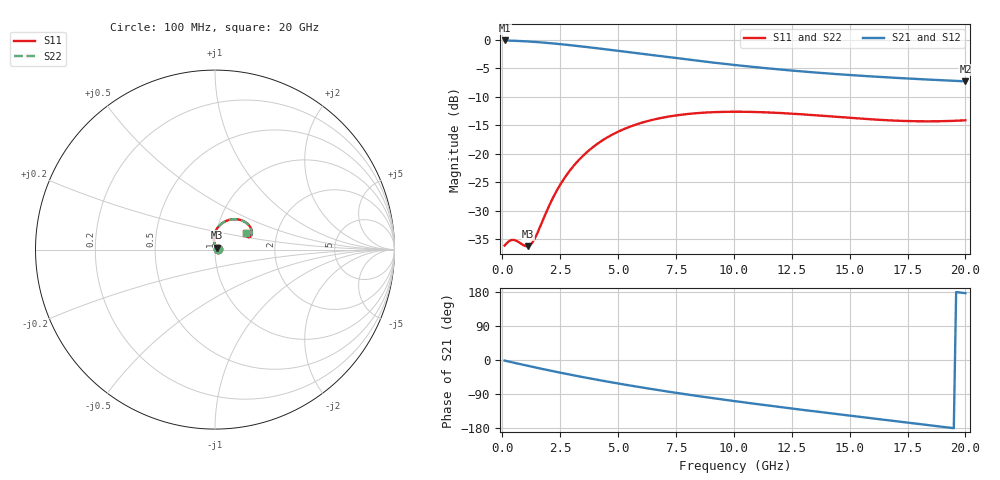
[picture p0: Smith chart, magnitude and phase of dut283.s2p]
! Touchstone file exported from HFSS 2024.1.0
!  File:  C:/UserFiles/LocalFiles/RDL_TSV_Batchsim/temp_RDL_TSV_283_1779464799.aedt
!  Generated:  12:26:27 AM May 23, 2026
!  Design:  RDL_TSV
!  Project:  temp_RDL_TSV_283_1779464799
!  Setup:  Setup1
!  Solution:  Sweep
! Variables:
!  dtsv = 5.03um
!  hbump = 3um
!  htsv = 75.11um
!  ldown = 432.6um
!  lrdl = 354.9um
!  p = 40
!  p1 = 41.93um
!  rhole = 10um
!  subl = 2717.4um
!  t = 450um
!  tdown = 2.24um
!  trdl = 3.17um
!  viad = 10um
!  wdown = 26.06um
!  wrdl = 29.44um
!  xbump = 18um
# GHz S MA R 50.000000
! Terminal data exported
! Port[1] = TM1_1_T1
! Port[2] = TM1_4_T1
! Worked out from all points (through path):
!   200 points, 100 MHz to 20 GHz, reference 50 ohm
!   highest |S21| = -0.14 dB at 100 MHz (marker M1); lowest = -7.3 dB at 20 GHz (marker M2)
!   group delay of S21, straight-line fit = 24.4 ps
!   lowest |S11| = -36.2 dB at 1.1 GHz (marker M3), VSWR 1.03, Z = 51 + j1.16 ohm
!   |S11| at or under -10 dB: start of sweep to end of sweep
!   |S22| runs from -36.3 to -12.7 dB; largest |S21 - S12| = 1.1e-14
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0.1  0.01563 6.8  0.9837 -1.5  0.9837 -1.5  0.01563 6.8
! Gamma 0 0 0 0
! Port Impedance 50 0 50 0
0.3  0.01712 14.4  0.9809 -4.3  0.9809 -4.3  0.01711 14.3
0.5  0.0175 18.3  0.9774 -7.1  0.9774 -7.1  0.01749 18.2
1.1  0.01543 47.4  0.9642 -15.3  0.9642 -15.3  0.01539 47.3
1.2  0.01579 55.6  0.9614 -16.6  0.9614 -16.6  0.01574 55.4
1.4  0.01795 71.1  0.9553 -19.3  0.9553 -19.3  0.01788 71.0
2.1  0.03768 95.9  0.93 -28.4  0.93 -28.4  0.03755 95.9
2.5  0.05337 97.2  0.9134 -33.4  0.9134 -33.4  0.0532 97.2
3  0.07467 94.5  0.8913 -39.5  0.8913 -39.5  0.07445 94.5
3.5  0.09642 89.9  0.8683 -45.3  0.8683 -45.3  0.09615 89.9
4.2  0.1257 82.5  0.8355 -53.3  0.8355 -53.3  0.1254 82.5
4.9  0.1522 74.8  0.8027 -60.9  0.8027 -60.9  0.1519 74.8
5.8  0.1807 65.5  0.7613 -70.2  0.7613 -70.2  0.1803 65.4
6.8  0.2045 56.1  0.7174 -80.0  0.7174 -80.0  0.204 56.0
8.4  0.2266 43.4  0.654 -94.7  0.654 -94.7  0.2259 43.4
10.1  0.2332 33.1  0.5974 -109.1  0.5974 -109.1  0.2324 33.0
11.7  0.2288 26.1  0.554 -121.8  0.554 -121.8  0.228 26.1
13.4  0.218 21.5  0.5172 -134.8  0.5172 -134.8  0.2172 21.5
15  0.2062 19.9  0.4895 -146.7  0.4895 -146.7  0.2052 19.8
16.7  0.1959 20.8  0.4658 -159.3  0.4658 -159.3  0.195 20.8
18.3  0.192 23.6  0.4474 -171.1  0.4474 -171.1  0.1911 23.7
20  0.1961 27.3  0.4308 176.4  0.4308 176.4  0.1952 27.4
